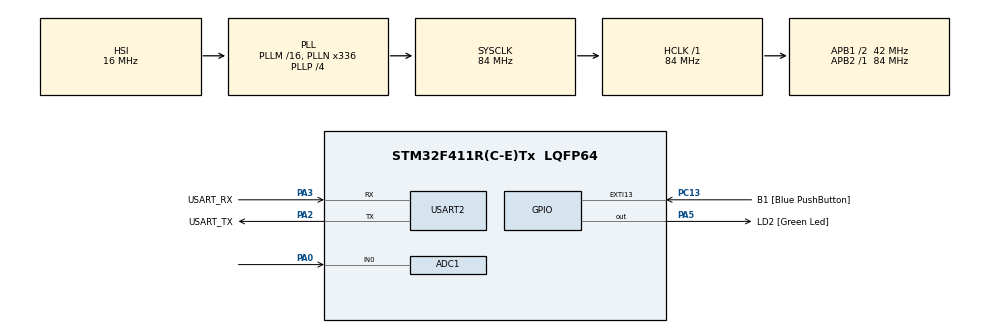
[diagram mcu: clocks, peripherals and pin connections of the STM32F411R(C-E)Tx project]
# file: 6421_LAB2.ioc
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ADC1.Channel-0\#ChannelRegularConversion=ADC_CHANNEL_0
ADC1.Channel-1\#ChannelRegularConversion=ADC_CHANNEL_TEMPSENSOR
ADC1.ContinuousConvMode=ENABLE
ADC1.DMAContinuousRequests=ENABLE
ADC1.NbrOfConversion=2
ADC1.NbrOfConversionFlag=1
ADC1.Rank-0\#ChannelRegularConversion=1
ADC1.Rank-1\#ChannelRegularConversion=2
ADC1.SamplingTime-0\#ChannelRegularConversion=ADC_SAMPLETIME_56CYCLES
ADC1.SamplingTime-1\#ChannelRegularConversion=ADC_SAMPLETIME_56CYCLES
ADC1.ScanConvMode=ENABLE
ADC1.master=1
Dma.ADC1.0.Direction=DMA_PERIPH_TO_MEMORY
Dma.ADC1.0.FIFOMode=DMA_FIFOMODE_DISABLE
Dma.ADC1.0.Instance=DMA2_Stream0
Dma.ADC1.0.MemDataAlignment=DMA_MDATAALIGN_HALFWORD
Dma.ADC1.0.MemInc=DMA_MINC_ENABLE
Dma.ADC1.0.Mode=DMA_CIRCULAR
Dma.ADC1.0.PeriphDataAlignment=DMA_PDATAALIGN_HALFWORD
Dma.ADC1.0.PeriphInc=DMA_PINC_DISABLE
Dma.ADC1.0.Priority=DMA_PRIORITY_LOW
Dma.Request0=ADC1
Mcu.Family=STM32F4
Mcu.Name=STM32F411R(C-E)Tx
Mcu.Package=LQFP64
NVIC.ADC_IRQn=true\:0\:0\:false\:false\:true\:true\:true\:true
NVIC.DMA2_Stream0_IRQn=true\:0\:0\:false\:false\:true\:false\:true\:true
NVIC.PriorityGroup=NVIC_PRIORITYGROUP_0
PA0-WKUP.Signal=ADCx_IN0
PA13.GPIO_Label=TMS
PA13.Mode=Serial_Wire
PA13.Signal=SYS_JTMS-SWDIO
PA14.GPIO_Label=TCK
PA14.Mode=Serial_Wire
PA14.Signal=SYS_JTCK-SWCLK
PA2.GPIO_Label=USART_TX
PA2.Mode=Asynchronous
PA2.Signal=USART2_TX
PA3.GPIO_Label=USART_RX
PA3.Mode=Asynchronous
PA3.Signal=USART2_RX
PA5.GPIO_Label=LD2 [Green Led]
PA5.Signal=GPIO_Output
PB3.GPIO_Label=SWO
PB3.Signal=SYS_JTDO-SWO
PC13-ANTI_TAMP.GPIO_Label=B1 [Blue PushButton]
PC13-ANTI_TAMP.GPIO_ModeDefaultEXTI=GPIO_MODE_IT_FALLING
PC13-ANTI_TAMP.Signal=GPXTI13
PC14-OSC32_IN.Mode=LSE-External-Oscillator
PC14-OSC32_IN.Signal=RCC_OSC32_IN
PC15-OSC32_OUT.Mode=LSE-External-Oscillator
PC15-OSC32_OUT.Signal=RCC_OSC32_OUT
PH0\ -\ OSC_IN.Mode=HSE-External-Clock-Source
PH0\ -\ OSC_IN.Signal=RCC_OSC_IN
PH1\ -\ OSC_OUT.Mode=HSE-External-Clock-Source
PH1\ -\ OSC_OUT.Signal=RCC_OSC_OUT
ProjectManager.HeapSize=0x200
ProjectManager.StackSize=0x400
ProjectManager.TargetToolchain=STM32CubeIDE
RCC.48MHZClocksFreq_Value=84000000
RCC.AHBFreq_Value=84000000
RCC.APB1CLKDivider=RCC_HCLK_DIV2
RCC.APB1Freq_Value=42000000
RCC.APB1TimFreq_Value=84000000
RCC.APB2Freq_Value=84000000
RCC.APB2TimFreq_Value=84000000
RCC.CortexFreq_Value=84000000
RCC.FLatency-AdvancedSettings=FLASH_LATENCY_2
RCC.HCLKFreq_Value=84000000
RCC.HSE_VALUE=8000000
RCC.HSI_VALUE=16000000
RCC.PLLN=336
RCC.PLLP=RCC_PLLP_DIV4
RCC.SYSCLKFreq_VALUE=84000000
RCC.SYSCLKSource=RCC_SYSCLKSOURCE_PLLCLK
RCC.VCOOutputFreq_Value=336000000
SH.ADCx_IN0.0=ADC1_IN0,IN0
USART2.VirtualMode=VM_ASYNC
VP_ADC1_TempSens_Input.Mode=IN-TempSens
board=NUCLEO-F411RE

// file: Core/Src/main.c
/* USER CODE BEGIN Header */
/**
  ******************************************************************************
  * @file           : main.c
  * @brief          : Main program body
  ******************************************************************************
  * @attention
  *
  * Copyright (c) 2023 STMicroelectronics.
  * All rights reserved.
  *
  * This software is licensed under terms that can be found in the LICENSE file
  * in the root directory of this software component.
  * If no LICENSE file comes with this software, it is provided AS-IS.
  *
  ******************************************************************************
  */
/* USER CODE END Header */
#include "main.h"

ADC_HandleTypeDef hadc1;
DMA_HandleTypeDef hdma_adc1;

UART_HandleTypeDef huart2;

/* USER CODE BEGIN PV */
typedef struct _Data
{
		uint16_t ADC_IN0;
		uint16_t TempSensor;
}Data;
Data buffer[10];
uint16_t avgvoltage;
uint16_t avgtemp;
float t_voltage;
float t_temp;
/* USER CODE END PV */

void SystemClock_Config(void);
static void MX_GPIO_Init(void);
static void MX_DMA_Init(void);
static void MX_USART2_UART_Init(void);
static void MX_ADC1_Init(void);

int main(void)
{

  /* MCU Configuration--------------------------------------------------------*/

  /* Reset of all peripherals, Initializes the Flash interface and the Systick. */
  HAL_Init();

  /* Configure the system clock */
  SystemClock_Config();

  /* Initialize all configured peripherals */
  MX_GPIO_Init();
  MX_DMA_Init();
  MX_USART2_UART_Init();
  MX_ADC1_Init();
  /* USER CODE BEGIN 2 */
  HAL_ADC_Start_DMA(&hadc1, (uint32_t*)buffer, 20);
  uint32_t lap_voltage , lap_temp;
  /* USER CODE END 2 */

  /* Infinite loop */
  while (1)
  {

    /* USER CODE BEGIN 3 */
	  for (uint16_t i = 0;i<10;i++)
	  {
		  if (i == 0)
		  {
			  lap_voltage = 0;
			  lap_temp = 0;
		  }
		  else if (i == 9)
		  {
			  lap_voltage = lap_voltage + buffer[i].ADC_IN0;
			  lap_temp = lap_temp + buffer[i].TempSensor;
			  avgvoltage = lap_voltage / 10 ;
			  avgtemp = lap_temp / 10 ;
		  }
		  else
		  {
			  lap_voltage = lap_voltage + buffer[i].ADC_IN0;
			  lap_temp = lap_temp + buffer[i].TempSensor;
		  }
	  }
	  t_voltage = ((5.0/2820)*avgvoltage)*1000;
	  t_temp = ((22.0/847)*avgtemp) + 273;
	  HAL_Delay(1000);
  }
  /* USER CODE END 3 */
}

void SystemClock_Config(void)
{
  RCC_OscInitTypeDef RCC_OscInitStruct = {0};
  RCC_ClkInitTypeDef RCC_ClkInitStruct = {0};

  /** Configure the main internal regulator output voltage
  */
  __HAL_RCC_PWR_CLK_ENABLE();
  __HAL_PWR_VOLTAGESCALING_CONFIG(PWR_REGULATOR_VOLTAGE_SCALE1);

  /** Initializes the RCC Oscillators according to the specified parameters
  * in the RCC_OscInitTypeDef structure.
  */
  RCC_OscInitStruct.OscillatorType = RCC_OSCILLATORTYPE_HSI;
  RCC_OscInitStruct.HSIState = RCC_HSI_ON;
  RCC_OscInitStruct.HSICalibrationValue = RCC_HSICALIBRATION_DEFAULT;
  RCC_OscInitStruct.PLL.PLLState = RCC_PLL_ON;
  RCC_OscInitStruct.PLL.PLLSource = RCC_PLLSOURCE_HSI;
  RCC_OscInitStruct.PLL.PLLM = 16;
  RCC_OscInitStruct.PLL.PLLN = 336;
  RCC_OscInitStruct.PLL.PLLP = RCC_PLLP_DIV4;
  RCC_OscInitStruct.PLL.PLLQ = 4;
  if (HAL_RCC_OscConfig(&RCC_OscInitStruct) != HAL_OK)
  {
    Error_Handler();
  }

  /** Initializes the CPU, AHB and APB buses clocks
  */
  RCC_ClkInitStruct.ClockType = RCC_CLOCKTYPE_HCLK|RCC_CLOCKTYPE_SYSCLK
                              |RCC_CLOCKTYPE_PCLK1|RCC_CLOCKTYPE_PCLK2;
  RCC_ClkInitStruct.SYSCLKSource = RCC_SYSCLKSOURCE_PLLCLK;
  RCC_ClkInitStruct.AHBCLKDivider = RCC_SYSCLK_DIV1;
  RCC_ClkInitStruct.APB1CLKDivider = RCC_HCLK_DIV2;
  RCC_ClkInitStruct.APB2CLKDivider = RCC_HCLK_DIV1;

  if (HAL_RCC_ClockConfig(&RCC_ClkInitStruct, FLASH_LATENCY_2) != HAL_OK)
  {
    Error_Handler();
  }
}

static void MX_ADC1_Init(void)
{

  ADC_ChannelConfTypeDef sConfig = {0};

  /** Configure the global features of the ADC (Clock, Resolution, Data Alignment and number of conversion)
  */
  hadc1.Instance = ADC1;
  hadc1.Init.ClockPrescaler = ADC_CLOCK_SYNC_PCLK_DIV4;
  hadc1.Init.Resolution = ADC_RESOLUTION_12B;
  hadc1.Init.ScanConvMode = ENABLE;
  hadc1.Init.ContinuousConvMode = ENABLE;
  hadc1.Init.DiscontinuousConvMode = DISABLE;
  hadc1.Init.ExternalTrigConvEdge = ADC_EXTERNALTRIGCONVEDGE_NONE;
  hadc1.Init.ExternalTrigConv = ADC_SOFTWARE_START;
  hadc1.Init.DataAlign = ADC_DATAALIGN_RIGHT;
  hadc1.Init.NbrOfConversion = 2;
  hadc1.Init.DMAContinuousRequests = ENABLE;
  hadc1.Init.EOCSelection = ADC_EOC_SINGLE_CONV;
  if (HAL_ADC_Init(&hadc1) != HAL_OK)
  {
    Error_Handler();
  }

  /** Configure for the selected ADC regular channel its corresponding rank in the sequencer and its sample time.
  */
  sConfig.Channel = ADC_CHANNEL_0;
  sConfig.Rank = 1;
  sConfig.SamplingTime = ADC_SAMPLETIME_56CYCLES;
  if (HAL_ADC_ConfigChannel(&hadc1, &sConfig) != HAL_OK)
  {
    Error_Handler();
  }

  /** Configure for the selected ADC regular channel its corresponding rank in the sequencer and its sample time.
  */
  sConfig.Channel = ADC_CHANNEL_TEMPSENSOR;
  sConfig.Rank = 2;
  if (HAL_ADC_ConfigChannel(&hadc1, &sConfig) != HAL_OK)
  {
    Error_Handler();
  }

}

static void MX_USART2_UART_Init(void)
{

  huart2.Instance = USART2;
  huart2.Init.BaudRate = 115200;
  huart2.Init.WordLength = UART_WORDLENGTH_8B;
  huart2.Init.StopBits = UART_STOPBITS_1;
  huart2.Init.Parity = UART_PARITY_NONE;
  huart2.Init.Mode = UART_MODE_TX_RX;
  huart2.Init.HwFlowCtl = UART_HWCONTROL_NONE;
  huart2.Init.OverSampling = UART_OVERSAMPLING_16;
  if (HAL_UART_Init(&huart2) != HAL_OK)
  {
    Error_Handler();
  }

}

static void MX_DMA_Init(void)
{

  /* DMA controller clock enable */
  __HAL_RCC_DMA2_CLK_ENABLE();

  /* DMA interrupt init */
  /* DMA2_Stream0_IRQn interrupt configuration */
  HAL_NVIC_SetPriority(DMA2_Stream0_IRQn, 0, 0);
  HAL_NVIC_EnableIRQ(DMA2_Stream0_IRQn);

}

static void MX_GPIO_Init(void)
{
  GPIO_InitTypeDef GPIO_InitStruct = {0};

  /* GPIO Ports Clock Enable */
  __HAL_RCC_GPIOC_CLK_ENABLE();
  __HAL_RCC_GPIOH_CLK_ENABLE();
  __HAL_RCC_GPIOA_CLK_ENABLE();
  __HAL_RCC_GPIOB_CLK_ENABLE();

  /*Configure GPIO pin Output Level */
  HAL_GPIO_WritePin(LD2_GPIO_Port, LD2_Pin, GPIO_PIN_RESET);

  /*Configure GPIO pin : B1_Pin */
  GPIO_InitStruct.Pin = B1_Pin;
  GPIO_InitStruct.Mode = GPIO_MODE_IT_FALLING;
  GPIO_InitStruct.Pull = GPIO_NOPULL;
  HAL_GPIO_Init(B1_GPIO_Port, &GPIO_InitStruct);

  /*Configure GPIO pin : LD2_Pin */
  GPIO_InitStruct.Pin = LD2_Pin;
  GPIO_InitStruct.Mode = GPIO_MODE_OUTPUT_PP;
  GPIO_InitStruct.Pull = GPIO_NOPULL;
  GPIO_InitStruct.Speed = GPIO_SPEED_FREQ_LOW;
  HAL_GPIO_Init(LD2_GPIO_Port, &GPIO_InitStruct);

}

/* USER CODE BEGIN 4 */
void HAL_GPIO_EXTI_Callback(uint16_t GPIO_Pin)
{
	HAL_ADC_Start_DMA(&hadc1, (uint32_t*)buffer, 20);
}
void HAL_ADC_ConvCpltCallback(ADC_HandleTypeDef* hadc)
{

}
/* USER CODE END 4 */

void Error_Handler(void)
{
  __disable_irq();
  while (1)
  {
  }
}
